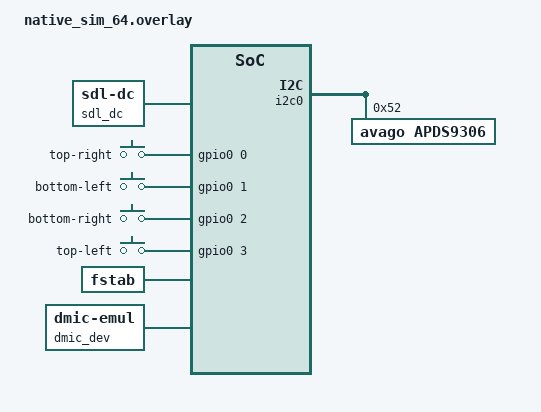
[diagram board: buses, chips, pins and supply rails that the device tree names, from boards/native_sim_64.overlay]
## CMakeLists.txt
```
cmake_minimum_required(VERSION 3.20.0)

# Use the same board definitions as main app
set(BOARD_ROOT ${CMAKE_CURRENT_SOURCE_DIR}/../app)
list(APPEND BOARD_ROOT ${CMAKE_CURRENT_SOURCE_DIR}/../app)

# Add custom device tree bindings from main app
list(APPEND DTS_ROOT ${CMAKE_CURRENT_SOURCE_DIR}/../app)

find_package(Zephyr REQUIRED HINTS $ENV{ZEPHYR_BASE})
project(ProductionTest)

# Shared components from main app
target_sources(app PRIVATE
    ../app/src/drivers/zsw_display_control.c
)

target_sources(app PRIVATE
    ../app/src/drivers/zsw_vibration_motor.c
)

target_sources(app PRIVATE
    ../app/src/drivers/zsw_microphone.c
)

add_subdirectory(../app/drivers ${CMAKE_CURRENT_BINARY_DIR}/app_drivers)

if (CONFIG_AUDIO_DMIC)
    target_sources(app PRIVATE
        ../app/src/ext_drivers/kissfft/kiss_fft.c
        ../app/src/ext_drivers/kissfft/kiss_fftr.c
    )

    target_include_directories(app PRIVATE ../app/src/ext_drivers/kissfft)

    target_compile_definitions(app PRIVATE
        kiss_fft_scalar=float
        KISS_FFT_MALLOC=k_malloc
        KISS_FFT_FREE=k_free
    )
endif()

if (CONFIG_MAX32664C_USE_FIRMWARE_LOADER)
    # The hub firmware image ships with the MAX32664C driver module.
    target_include_directories(app PRIVATE ${ZEPHYR_MAX32664C_MODULE_DIR}/samples/app/src/firmware)
endif()

target_sources(app PRIVATE 
    src/main.c
    src/production_test_runner.c
    src/netcore_check.c
    src/screens/button_test_screen.c
    src/screens/vibration_test_screen.c
    src/screens/brightness_test_screen.c
    src/screens/touch_test_screen.c
    src/screens/microphone_test_screen.c
    src/screens/sensor_scan_screen.c
    src/screens/result_screen.c
    
    # FFT spectrum analyzer for microphone test
    ../app/src/applications/mic/spectrum_analyzer.c
)

target_include_directories(app PRIVATE 
    ../app/src/
    ../app/src/drivers/
)

target_compile_definitions(app PRIVATE
    _POSIX_C_SOURCE=200809L
)
```

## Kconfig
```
rsource "../app/Kconfig"
```

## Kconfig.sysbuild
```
# Copyright (c) 2025 ZSWatch Project
# SPDX-License-Identifier: Apache-2.0

source "share/sysbuild/Kconfig"
```

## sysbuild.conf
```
# Copyright (c) 2025 ZSWatch Project
# SPDX-License-Identifier: Apache-2.0

# Minimal sysbuild config — no MCUboot, no netcore child images.
# Local dev builds produce a plain hex flashable directly (app links at 0x0).
#
# For CI/factory builds that produce an MCUboot-compatible signed image:
#   west build ... -- -DPM_STATIC_YML_FILE=".../pm_static_watchdk_nrf5340_cpuapp_1_mcuboot.yml"
# This links the image at 0x10200. Then sign with imgtool and merge with MCUboot hex.
```

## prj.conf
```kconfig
CONFIG_MAIN_STACK_SIZE=2048
CONFIG_SYSTEM_WORKQUEUE_STACK_SIZE=10000
CONFIG_HEAP_MEM_POOL_SIZE=25000
CONFIG_CBPRINTF_FP_SUPPORT=y
CONFIG_DEBUG_THREAD_INFO=y

CONFIG_ASSERT=y
CONFIG_REBOOT=y
CONFIG_DISPLAY=y

CONFIG_I2C=y
CONFIG_SENSOR=y
CONFIG_ADC=y

CONFIG_PM_DEVICE=y
CONFIG_PM_DEVICE_RUNTIME=y
CONFIG_PM_DEVICE_RUNTIME_DEFAULT_ENABLE=n

# LVGL configuration
CONFIG_LVGL=y
CONFIG_LV_Z_FLUSH_THREAD=y
CONFIG_LV_Z_FLUSH_THREAD_PRIORITY=0
CONFIG_LV_FONT_MONTSERRAT_10=y
CONFIG_LV_FONT_MONTSERRAT_12=y
CONFIG_LV_FONT_MONTSERRAT_14=y
CONFIG_LV_FONT_MONTSERRAT_16=y
CONFIG_LV_FONT_MONTSERRAT_18=y
CONFIG_LV_FONT_MONTSERRAT_20=y
CONFIG_LV_FONT_MONTSERRAT_28=y
CONFIG_LV_Z_POINTER_INPUT_MSGQ_COUNT=200
CONFIG_LV_Z_POINTER_INPUT=y

CONFIG_LV_CACHE_DEF_SIZE=10
CONFIG_LV_IMAGE_HEADER_CACHE_DEF_CNT=10
CONFIG_LV_USE_CUSTOM_SPRINTF=y

CONFIG_LV_Z_DOUBLE_VDB=y
CONFIG_LV_Z_VDB_SIZE=10
CONFIG_LV_DEF_REFR_PERIOD=30

CONFIG_LV_THEME_DEFAULT_DARK=y
CONFIG_LV_USE_THEME_DEFAULT=y

CONFIG_LV_COLOR_16_SWAP=y
CONFIG_LV_COLOR_DEPTH_16=y

# LVGL Size optimizations
CONFIG_LV_CONF_MINIMAL=y
CONFIG_LV_LABEL_TEXT_SELECTION=n
CONFIG_LV_LABEL_LONG_TXT_HINT=n
CONFIG_LV_USE_LOG=y
CONFIG_LV_USE_DROPDOWN=y
CONFIG_LV_USE_LINE=y
CONFIG_LV_USE_SLIDER=y
CONFIG_LV_USE_SWITCH=y
CONFIG_LV_USE_FLEX=y
CONFIG_LV_USE_ANIMIMG=y
CONFIG_LV_USE_CHART=y
CONFIG_LV_USE_LED=y
CONFIG_LV_USE_MENU=y
CONFIG_LV_USE_MSGBOX=y
CONFIG_LV_USE_SPINNER=y
CONFIG_LV_USE_TILEVIEW=y
CONFIG_LV_USE_GIF=y
CONFIG_LV_USE_LABEL=y
CONFIG_LV_USE_IMAGE=y
CONFIG_LV_USE_ARC=y
CONFIG_LV_USE_BUTTON=y
CONFIG_LV_USE_BUTTONMATRIX=y
CONFIG_LV_USE_IMAGEBUTTON=y
CONFIG_LV_USE_CHECKBOX=y
CONFIG_LV_USE_SCALE=y
CONFIG_LV_USE_ASSERT_NULL=y
CONFIG_LV_USE_ASSERT_MALLOC=y
CONFIG_LV_FONT_DEFAULT_MONTSERRAT_14=y
CONFIG_LV_WIDGETS_HAS_DEFAULT_VALUE=y
CONFIG_LV_TXT_ENC_UTF8=y

CONFIG_LV_DRAW_SW_SUPPORT_RGB565=y
CONFIG_LV_DRAW_SW_SUPPORT_RGB565A8=y
CONFIG_LV_DRAW_SW_SUPPORT_RGB888=n
CONFIG_LV_DRAW_SW_SUPPORT_XRGB8888=n
CONFIG_LV_DRAW_SW_SUPPORT_ARGB8888=n
CONFIG_LV_DRAW_SW_SUPPORT_L8=n
CONFIG_LV_DRAW_SW_SUPPORT_AL88=n
CONFIG_LV_DRAW_SW_SUPPORT_A8=n
CONFIG_LV_DRAW_SW_SUPPORT_I1=n

#
# Memory settings
#
CONFIG_LV_Z_MEM_POOL_SIZE=110000
# end of Memory settings

# NVS
CONFIG_FLASH=y
CONFIG_FLASH_INIT_PRIORITY=40
CONFIG_FLASH_MAP=y
CONFIG_MPU_ALLOW_FLASH_WRITE=y
CONFIG_FLASH_PAGE_LAYOUT=y
CONFIG_STREAM_FLASH=y
CONFIG_FLASH_MAP_LABELS=y


# Bluetooth
CONFIG_BT=n

# Release the network core from force-off so netcore_check can verify it
CONFIG_SOC_NRF53_CPUNET_ENABLE=y

CONFIG_PICOLIBC=y
CONFIG_PICOLIBC_IO_FLOAT=y
CONFIG_POSIX_API=y

# By default disable UART to save power

CONFIG_ZBUS=y
CONFIG_ZBUS_RUNTIME_OBSERVERS=y
CONFIG_ZBUS_CHANNEL_NAME=y
CONFIG_ZBUS_OBSERVER_NAME=y
CONFIG_ZBUS_CHANNELS_SYS_INIT_PRIORITY=1


# Default watch
CONFIG_POWER_MANAGEMENT_IDLE_TIMEOUT_SECONDS=10000

CONFIG_RESET_ON_FATAL_ERROR=y

CONFIG_LOG=y
CONFIG_SERIAL=y
CONFIG_UART_CONSOLE=y
CONFIG_LOG_BACKEND_UART=y
CONFIG_CONSOLE=y

# RTC driver support
CONFIG_RTC=y
CONFIG_RTC_ALARM=y

# Microphone support
CONFIG_ZSW_MIC=y


CONFIG_INPUT_THREAD_STACK_SIZE=2048
```

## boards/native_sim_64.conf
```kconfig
CONFIG_FLASH_SIMULATOR=y

CONFIG_PINCTRL=n
CONFIG_TEST_RANDOM_GENERATOR=y
CONFIG_REGULATOR=y

CONFIG_GPIO=y
CONFIG_INPUT=y
CONFIG_INPUT_LONGPRESS=n
CONFIG_INPUT_SDL_TOUCH=y
CONFIG_GPIO_EMUL_SDL=y

CONFIG_I2C=y
CONFIG_EMUL=y

CONFIG_APDS9306=y
CONFIG_ZSW_APDS9306_EMUL=y

CONFIG_ZSW_BMP581=y
CONFIG_ZSW_BMP581_EMUL=y

CONFIG_RTC=y
CONFIG_RTC_ALARM=y
CONFIG_RTC_EMUL=y

CONFIG_SPI=n
CONFIG_GC9A01=n
CONFIG_INPUT_CST816S=n
CONFIG_REGULATOR_FIXED=n

CONFIG_SDL_DISPLAY_DEFAULT_PIXEL_FORMAT_RGB_565=y

CONFIG_PICOLIBC=n
CONFIG_EXTERNAL_LIBC=y

CONFIG_CONSOLE=y
CONFIG_THREAD_NAME=y
CONFIG_PRINTK=y

CONFIG_LOG_PRINTK=y
CONFIG_LOG=y
CONFIG_DEBUG_OPTIMIZATIONS=y

CONFIG_SDL_DISPLAY_ZOOM_PCT=200
CONFIG_SDL_DISPLAY_USE_HARDWARE_ACCELERATOR=n
CONFIG_LV_Z_FLUSH_THREAD=n

# Mic
CONFIG_ZSW_MIC=y
CONFIG_AUDIO_DMIC_EMUL=y
```

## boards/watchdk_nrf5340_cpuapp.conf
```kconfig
# WatchDK hardware specific config for production test

CONFIG_HEAP_MEM_POOL_SIZE=50000

# Hardware interfaces for sensor testing
CONFIG_PINCTRL=y
CONFIG_REGULATOR=y
CONFIG_REGULATOR_FIXED=y

# For production test, keep display working
CONFIG_SPI=y
CONFIG_INPUT=y
CONFIG_GC9A01=y
CONFIG_DISPLAY=y

# Enable LVGL flush thread for real hardware
CONFIG_LV_Z_FLUSH_THREAD=y
CONFIG_LV_Z_FLUSH_THREAD_PRIORITY=0

# CST816S
CONFIG_INPUT_CST816S_INTERRUPT=y
CONFIG_INPUT_CST816S=y
CONFIG_INPUT_CST816S_EV_DEVICE=y

# BMI270
CONFIG_ZSW_BMI270=y
CONFIG_ZSW_BMI270_TRIGGER_GLOBAL_THREAD=y

CONFIG_LIS2MDL=y
CONFIG_LIS2MDL_MAG_ODR_RUNTIME=y
CONFIG_LIS2MDL_TRIGGER_OWN_THREAD=y

CONFIG_PINCTRL=y

CONFIG_PWM=y

CONFIG_COUNTER=y
CONFIG_NRFX_TIMER=y

CONFIG_SPI=y
CONFIG_GC9A01=y
CONFIG_INPUT=y
CONFIG_REGULATOR=y
CONFIG_REGULATOR_FIXED=y

# I2C for PMIC communication
CONFIG_I2C=y

# NPM13XX PMIC and input driver for button support
CONFIG_NRF_FUEL_GAUGE=y
CONFIG_MFD=y
CONFIG_MFD_NPM13XX=y
CONFIG_MFD_NPM13XX_INIT_PRIORITY=51
CONFIG_REGULATOR_NPM13XX_COMMON_INIT_PRIORITY=52
CONFIG_REGULATOR_NPM13XX_INIT_PRIORITY=53
CONFIG_INPUT_NPM13XX=y
CONFIG_INPUT_LONGPRESS=y

# Enable debug logging
CONFIG_LOG=y

# HR Addon
CONFIG_SENSOR_MAX32664C=y
CONFIG_MAX32664C_USE_EXTENDED_REPORTS=y
#CONFIG_MAX32664C_USE_INTERRUPT=y
CONFIG_MAX32664C_USE_STATIC_MEMORY=y
CONFIG_MAX32664C_USE_FIRMWARE_LOADER=y
```

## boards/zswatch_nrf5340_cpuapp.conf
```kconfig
# ZSWatch hardware specific config for production test

# Hardware interfaces for sensor testing
CONFIG_PINCTRL=y
CONFIG_REGULATOR=y
CONFIG_REGULATOR_FIXED=y

# For production test, keep display working
CONFIG_SPI=y
CONFIG_INPUT=y
CONFIG_GC9A01=y
CONFIG_DISPLAY=y

# Enable LVGL flush thread for real hardware
CONFIG_LV_Z_FLUSH_THREAD=y
CONFIG_LV_Z_FLUSH_THREAD_PRIORITY=0

# CST816S
CONFIG_INPUT_CST816S_INTERRUPT=y
CONFIG_INPUT_CST816S=y
CONFIG_INPUT_CST816S_EV_DEVICE=y

# BMI270
CONFIG_ZSW_BMI270=y
CONFIG_ZSW_BMI270_TRIGGER_GLOBAL_THREAD=y

CONFIG_LIS2MDL=y
CONFIG_LIS2MDL_MAG_ODR_RUNTIME=y
CONFIG_LIS2MDL_TRIGGER_OWN_THREAD=y

CONFIG_PWM=y

CONFIG_COUNTER=y
CONFIG_NRFX_TIMER=y

# I2C for PMIC communication
CONFIG_I2C=y

# NPM13XX PMIC and input driver for button support
CONFIG_NRF_FUEL_GAUGE=y
CONFIG_MFD=y
CONFIG_MFD_NPM13XX=y
CONFIG_MFD_NPM13XX_INIT_PRIORITY=51
CONFIG_REGULATOR_NPM13XX_COMMON_INIT_PRIORITY=52
CONFIG_REGULATOR_NPM13XX_INIT_PRIORITY=53
CONFIG_INPUT_NPM13XX=y
CONFIG_INPUT_LONGPRESS=y

# Enable debug logging
CONFIG_LOG=y
```

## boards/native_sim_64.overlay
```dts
/*
 * Copyright (c) 2025 ZSWatch Project
 * SPDX-License-Identifier: Apache-2.0
 */

#include <zephyr/dt-bindings/input/input-event-codes.h>

/{
    sdl_dc {
        compatible = "zephyr,sdl-dc";
        height = <240>;
        width = <240>;
    };
};
 
// Map "Enter, Backspace, Arrow down and Arrow up" to gpio
// Check https://docs.zephyrproject.org/latest/build/dts/api/bindings/gpio/zephyr,gpio-emul-sdl.html for additional informations
&gpio0 {
    ngpios = <4>;

    sdl_gpio {
        compatible = "zephyr,gpio-emul-sdl";
        scancodes = <40 81 42 82>;
    };
};
 
/ {
    buttons: buttons {
        compatible = "gpio-keys";
        polling-mode; // Use polling, as none polling generates at boot buttons releases for each button. Which is not desired. Maybe a bug in Zephyr?

        key1: key1 {
            label = "top-right";
            gpios = <&gpio0 0 GPIO_ACTIVE_HIGH>;
            zephyr,code = <INPUT_KEY_1>;
        };
        key2: key2 {
            label = "bottom-left";
            gpios = <&gpio0 1 GPIO_ACTIVE_HIGH>;
            zephyr,code = <INPUT_KEY_2>;
        };
        key3: key3 {
            label = "bottom-right";
            gpios = <&gpio0 2 GPIO_ACTIVE_HIGH>;
            zephyr,code = <INPUT_KEY_3>;
        };
        key4: key4 {
            label = "top-left";
            gpios = <&gpio0 3 GPIO_ACTIVE_HIGH>;
            zephyr,code = <INPUT_KEY_4>;
        };
    };
};
 
/ {
    fstab {
        compatible = "zephyr,fstab";
        lvgl_lfs: lvgl_lfs {
            compatible = "zephyr,fstab,littlefs";
            mount-point = "/lvgl_lfs";
            partition = <&littlefs_storage>;
            automount;
            read-size = <1024>;
            prog-size = <512>;
            cache-size = <4096>;
            lookahead-size = <4096>;
            block-cycles = <512>;
        };
    };
};

&i2c0 {
    apds9306: apds9306@52 {
        compatible = "avago,apds9306";
        reg = <0x52>;
        status = "okay";
    };
};
 
&flash0 {
    partitions {
        littlefs_storage: partition@100000 {
            label = "littlefs_storage";
            reg = <0x00100000 0x000f0000>;
        };
        lvgl_raw_partition: partition@1f0000 {
            label = "lvgl_raw_partition";
            reg = <0x001f0000 0x0000d000>;
        };
    };
};
 
/ {
    dmic_dev: dmic-emulator {
        compatible = "zephyr,dmic-emul";
        status = "okay";
        max-streams = <1>;
        sine-freq = <440>;
        amplitude = <20000>;
    };

    aliases {
        spi-flash0 = &flash0;
    };
};
 
```

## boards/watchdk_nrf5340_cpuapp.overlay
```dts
/*
 * Copyright (c) 2025 ZSWatch Project
 * SPDX-License-Identifier: Apache-2.0
 */

/* The production test updates the firmware of the HR extension hub. */
#include "../../app/boards/zswatch/watchdk/watchdk_nrf5340_cpuapp_hr.overlay"

/ {
    chosen {
        zephyr,console = &uart0;
    };

};
&i2c1 {
    // Flash buffer size is needed for the I2C bootloader to flash the firmware
    zephyr,flash-buf-max-size = <8250>;
};
```

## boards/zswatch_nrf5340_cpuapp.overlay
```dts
/*
 * Copyright (c) 2026 ZSWatch Project
 * SPDX-License-Identifier: Apache-2.0
 */

/ {
    chosen {
        zephyr,console = &uart0;
    };
};
```

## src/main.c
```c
/*
 * This file is part of ZSWatch project <https://github.com/zswatch/>.
 * Copyright (c) 2025 ZSWatch Project.
 *
 * This program is free software: you can redistribute it and/or modify
 * it under the terms of the GNU General Public License as published by
 * the Free Software Foundation, version 3.
 *
 * This program is distributed in the hope that it will be useful, but
 * WITHOUT ANY WARRANTY; without even the implied warranty of
 * MERCHANTABILITY or FITNESS FOR A PARTICULAR PURPOSE. See the GNU
 * General Public License for more details.
 *
 * You should have received a copy of the GNU General Public License
 * along with this program. If not, see <http://www.gnu.org/licenses/>.
 */

#include <zephyr/kernel.h>
#include <zephyr/logging/log.h>
#include <zephyr/sys/util.h>
#include <lvgl.h>

#include "production_test_runner.h"
#include "drivers/zsw_display_control.h"

LOG_MODULE_REGISTER(production_test, LOG_LEVEL_INF);

static void production_test_init_work(struct k_work *work);

K_WORK_DEFINE(init_work, production_test_init_work);

#ifdef CONFIG_MAX32664C_USE_FIRMWARE_LOADER
#define FW_VERSION_MAJOR 30
#define FW_VERSION_MINOR 13
#define FW_VERSION_PATCH 31
#include <zephyr/drivers/sensor/max32664c.h>
#include "MAX32664C_HSP2_WHRM_AEC_SCD_WSPO2_C_30_13_31.h"

static const struct device *const sensor_hub = DEVICE_DT_GET_OR_NULL(DT_ALIAS(hr_hub));
#endif

static void setup_hr_firmware(void)
{
#ifdef CONFIG_MAX32664C_USE_FIRMWARE_LOADER

    uint8_t major, minor, patch;

    if (!device_is_ready(sensor_hub)) {
        LOG_ERR("HR sensor hub not ready");
        return;
    }

    int err = max32664c_read_fw_version(sensor_hub, &major, &minor, &patch);
    if (err || major != FW_VERSION_MAJOR || minor != FW_VERSION_MINOR || patch != FW_VERSION_PATCH) {
        if (err) {
            LOG_ERR("Failed to read firmware version");
        }
        LOG_DBG("Updating firmware to version %u.%u.%u", FW_VERSION_MAJOR, FW_VERSION_MINOR, FW_VERSION_PATCH);
        err = max32664c_bl_enter(sensor_hub, MAX32664C_HSP2_WHRM_AEC_SCD_WSPO2_C_30_13_31,
                                 sizeof(MAX32664C_HSP2_WHRM_AEC_SCD_WSPO2_C_30_13_31));
        if (err) {
            LOG_ERR("Failed to update HR firmware: %d", err);
            // A successful update already leaves the bootloader.
            max32664c_bl_leave(sensor_hub);
        }
    } else {
        LOG_INF("Firmware up to date: %u.%u.%u", major, minor, patch);
    }
#endif /* CONFIG_MAX32664C_USE_FIRMWARE_LOADER */
}

static void production_test_init_work(struct k_work *work)
{
    ARG_UNUSED(work);

    const char *target = IS_ENABLED(CONFIG_BOARD_NATIVE_SIM) ? "native_sim" : "hardware";
    LOG_INF("Production test starting on %s", target);

    zsw_display_control_init();
    zsw_display_control_sleep_ctrl(true);
    zsw_display_control_set_brightness(100);  // Max brightness for production test

    setup_hr_firmware();

    production_test_runner_init();
    production_test_runner_start();
}

int main(void)
{
    // Submit initialization work to system workqueue
    k_work_submit(&init_work);

    return 0;
}
```

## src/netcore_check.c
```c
/*
 * This file is part of ZSWatch project <https://github.com/zswatch/>.
 * Copyright (c) 2025 ZSWatch Project.
 *
 * This program is free software: you can redistribute it and/or modify
 * it under the terms of the GNU General Public License as published by
 * the Free Software Foundation, version 3.
 *
 * This program is distributed in the hope that it will be useful, but
 * WITHOUT ANY WARRANTY; without even the implied warranty of
 * MERCHANTABILITY or FITNESS FOR A PARTICULAR PURPOSE. See the GNU
 * General Public License for more details.
 *
 * You should have received a copy of the GNU General Public License
 * along with this program. If not, see <http://www.gnu.org/licenses/>.
 */

#include <zephyr/kernel.h>
#include <zephyr/logging/log.h>

#include "netcore_check.h"

LOG_MODULE_REGISTER(netcore_check, LOG_LEVEL_INF);

#if defined(CONFIG_SOC_NRF5340_CPUAPP)

#include <hal/nrf_ipc.h>
#include <hal/nrf_reset.h>

/* NCM protocol constants - must match nrf/subsys/net_core_monitor/common.h */
#define NCM_IPC_MEM_CNT_IDX  0
#define NCM_CNT_POS          0UL
#define NCM_CNT_MSK          (0xFFFF << NCM_CNT_POS)
#define NCM_CNT_INIT_VAL     0x0055

/* How long to wait for the net core to boot and initialize */
#define NETCORE_CHECK_BOOT_WAIT_MS 2000
/* How long to wait between counter reads */
#define NETCORE_CHECK_POLL_WAIT_MS 3000

test_result_t netcore_check_run(void)
{
    uint32_t gpmem;
    uint16_t cnt_first;
    uint16_t cnt_second;

    /*
     * GPMEM registers persist across soft/pin resets — only cleared on a
     * power-on reset.  A stale counter from a previous boot could cause a
     * false PASS.  To guarantee we read a freshly-written value:
     *
     *   1. Force the net core off.
     *   2. Clear GPMEM[0] so any old counter value is gone.
     *   3. Release the net core — its NCM init writes CNT_INIT_VAL (0x55)
     *      to GPMEM[0] at SYS_INIT PRE_KERNEL_1, *before* any workqueue
     *      scheduling or BLE controller init can block.
     *   4. Read GPMEM[0] — if >= CNT_INIT_VAL the firmware is present and
     *      the net core booted successfully.
     */

    /* Force net core off */
    nrf_reset_network_force_off(NRF_RESET, true);
    k_sleep(K_MSEC(10));

    /* Clear shared counter register */
    nrf_ipc_gpmem_set(NRF_IPC, NCM_IPC_MEM_CNT_IDX, 0);

    /* Release — net core reboots from its reset vector (B0N → ipc_radio) */
    nrf_reset_network_force_off(NRF_RESET, false);

    /* Wait for net core to boot and run NCM init */
    k_sleep(K_MSEC(NETCORE_CHECK_BOOT_WAIT_MS));

    /* First read: did NCM init write the counter? */
    gpmem = nrf_ipc_gpmem_get(NRF_IPC, NCM_IPC_MEM_CNT_IDX);
    cnt_first = (uint16_t)((gpmem & NCM_CNT_MSK) >> NCM_CNT_POS);

    if (cnt_first < NCM_CNT_INIT_VAL) {
        /* NCM hasn't initialized yet — either no firmware, firmware crashed,
         * or still booting.  Give it more time and retry once.
         */
        k_sleep(K_MSEC(NETCORE_CHECK_POLL_WAIT_MS));
        gpmem = nrf_ipc_gpmem_get(NRF_IPC, NCM_IPC_MEM_CNT_IDX);
        cnt_first = (uint16_t)((gpmem & NCM_CNT_MSK) >> NCM_CNT_POS);

        if (cnt_first < NCM_CNT_INIT_VAL) {
            LOG_ERR("Net core not responding (counter=%u, gpmem=0x%08x)",
                    cnt_first, gpmem);
            return TEST_RESULT_FAILED;
        }
    }

    /*
     * Counter >= CNT_INIT_VAL: the net core actively wrote to GPMEM after
     * we cleared it — firmware is present and booted.
     * Now check if the counter advances (workqueue alive).
     */
    k_sleep(K_MSEC(NETCORE_CHECK_POLL_WAIT_MS));
    gpmem = nrf_ipc_gpmem_get(NRF_IPC, NCM_IPC_MEM_CNT_IDX);
    cnt_second = (uint16_t)((gpmem & NCM_CNT_MSK) >> NCM_CNT_POS);

    if (cnt_second != cnt_first) {
        LOG_INF("Net core alive (counter: %u -> %u)", cnt_first, cnt_second);
        return TEST_RESULT_PASSED;
    }

    /* Counter didn't advance but was freshly written after GPMEM clear.
     * BLE controller init may still be blocking the workqueue — the net
     * core firmware is present and booted regardless.
     */
    LOG_INF("Net core booted (counter=%u, workqueue blocked)", cnt_first);
    return TEST_RESULT_PASSED;
}

#else /* !CONFIG_SOC_NRF5340_CPUAPP */

test_result_t netcore_check_run(void)
{
    /* Net core check not available on this platform */
    return TEST_RESULT_PASSED;
}

#endif
```

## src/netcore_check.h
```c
/*
 * This file is part of ZSWatch project <https://github.com/zswatch/>.
 * Copyright (c) 2025 ZSWatch Project.
 *
 * This program is free software: you can redistribute it and/or modify
 * it under the terms of the GNU General Public License as published by
 * the Free Software Foundation, version 3.
 *
 * This program is distributed in the hope that it will be useful, but
 * WITHOUT ANY WARRANTY; without even the implied warranty of
 * MERCHANTABILITY or FITNESS FOR A PARTICULAR PURPOSE. See the GNU
 * General Public License for more details.
 *
 * You should have received a copy of the GNU General Public License
 * along with this program. If not, see <http://www.gnu.org/licenses/>.
 */

#pragma once

#include "production_test_runner.h"

/**
 * @brief Check if the network core is alive and responding.
 *
 * Uses the Net Core Monitor (NCM) GPMEM heartbeat to verify that the
 * CPUNET is running and feeding its liveness counter. Requires the
 * net core image (ipc_radio) to have CONFIG_NET_CORE_MONITOR=y.
 *
 * @return TEST_RESULT_PASSED if net core is alive, TEST_RESULT_FAILED otherwise.
 */
test_result_t netcore_check_run(void);
```

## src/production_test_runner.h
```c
/*
 * This file is part of ZSWatch project <https://github.com/zswatch/>.
 * Copyright (c) 2025 ZSWatch Project.
 *
 * This program is free software: you can redistribute it and/or modify
 * it under the terms of the GNU General Public License as published by
 * the Free Software Foundation, version 3.
 *
 * This program is distributed in the hope that it will be useful, but
 * WITHOUT ANY WARRANTY; without even the implied warranty of
 * MERCHANTABILITY or FITNESS FOR A PARTICULAR PURPOSE. See the GNU
 * General Public License for more details.
 *
 * You should have received a copy of the GNU General Public License
 * along with this program. If not, see <http://www.gnu.org/licenses/>.
 */

#pragma once

#include <stdint.h>
#include <stdbool.h>

typedef enum {
    TEST_STATE_BUTTON_TEST,
    TEST_STATE_VIBRATION_TEST,
    TEST_STATE_BACKLIGHT_TEST,
    TEST_STATE_TOUCH_TEST,
    TEST_STATE_MICROPHONE_TEST,
    TEST_STATE_SENSOR_SCAN,
    TEST_STATE_FINAL_RESULT,
    TEST_STATE_COMPLETE
} production_test_runner_state_t;

typedef enum {
    TEST_RESULT_PENDING,
    TEST_RESULT_RUNNING,
    TEST_RESULT_PASSED,
    TEST_RESULT_FAILED
} test_result_t;

typedef struct {
    const char *name;
    const test_result_t *result_ptr;
} test_metadata_t;

typedef struct {
    test_result_t buttons;
    test_result_t vibration;
    test_result_t backlight;
    test_result_t touch;
    test_result_t microphone;
    test_result_t sensor_scan;
    test_result_t imu;
    test_result_t pressure;
    test_result_t magnetometer;
    test_result_t light;
    test_result_t flash;
    test_result_t rtc;
    test_result_t netcore;
} test_results_t;

typedef struct {
    production_test_runner_state_t current_state;
    test_results_t results;
    uint8_t buttons_pressed_mask;  // Bitmask of pressed buttons
    int countdown_seconds;
    bool test_timeout;
    int total_tests;
    int passed_tests;
    bool button_test_started;
} production_test_runner_context_t;

/**
 * @brief Initialize the production test runner
 */
void production_test_runner_init(void);

/**
 * @brief Start the production test sequence
 */
void production_test_runner_start(void);

/**
 * @brief Get current test context
 * @return Pointer to current test context
 */
production_test_runner_context_t *production_test_runner_get_context(void);

/**
 * @brief Signal that current test passed and continue to next step
 */
void production_test_runner_test_passed(void);
```
